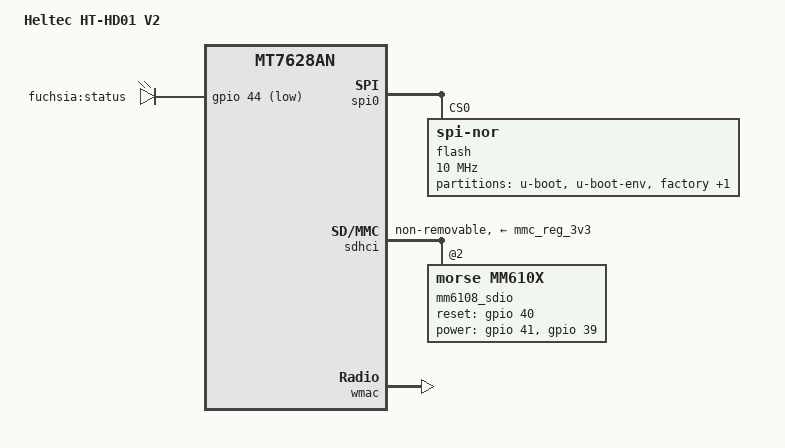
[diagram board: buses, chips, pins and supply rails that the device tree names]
// SPDX-License-Identifier: GPL-2.0-or-later OR MIT

#include "mt7628an.dtsi"

#include <dt-bindings/gpio/gpio.h>
#include <dt-bindings/leds/common.h>

/ {
	compatible = "heltec,ht-hd01-v2", "mediatek,mt7628an-soc";
	model = "Heltec HT-HD01 V2";

	aliases {
		serial0 = &uartlite;
		led-boot = &led_status;
		led-failsafe = &led_status;
		led-running = &led_status;
		led-upgrade = &led_status;
		label-mac-device = &wmac;
	};

	chosen {
		bootargs = "console=ttyS0,115200";
	};

	leds {
		compatible = "gpio-leds";

		led_status: status {
			label = "fuchsia:status";
			gpios = <&gpio 44 GPIO_ACTIVE_LOW>;
		};
	};

	/* MM6108 SDIO requires a 48 MHz fixed clock —
	   the stock Heltec firmware uses this instead of the
	   system clock gates from the SoC. */
	mmc_clock: mmc_clock {
		#clock-cells = <0>;
		compatible = "fixed-clock";
		clock-frequency = <48000000>;
	};

	reserved-memory {
		#address-cells = <1>;
		#size-cells = <1>;
		ranges;

		ramoops@7efffff {
			compatible = "ramoops";
			reg = <0x7efffff 0x100000>;
			record-size = <0x4000>;
			console-size = <0x4000>;
		};
	};
};

&state_default {
	gpio {
		groups = "wled_an", "refclk", "wdt", "i2s", "uart1", "uart2";
		function = "gpio";
	};
};

&spi0 {
	status = "okay";

	flash@0 {
		compatible = "jedec,spi-nor";
		reg = <0>;
		spi-max-frequency = <10000000>;

		partitions {
			compatible = "fixed-partitions";
			#address-cells = <1>;
			#size-cells = <1>;

			partition@0 {
				label = "u-boot";
				reg = <0x0 0x30000>;
				read-only;
			};

			partition@30000 {
				label = "u-boot-env";
				reg = <0x30000 0x10000>;
			};

			partition@40000 {
				label = "factory";
				reg = <0x40000 0x10000>;
				read-only;

				nvmem-layout {
					compatible = "fixed-layout";
					#address-cells = <1>;
					#size-cells = <1>;

					eeprom_factory_0: eeprom@0 {
						reg = <0x0 0x400>;
					};

					macaddr_factory_28: macaddr@28 {
						reg = <0x28 0x6>;
					};
				};
			};

			partition@50000 {
				compatible = "denx,uimage";
				label = "firmware";
				reg = <0x50000 0x1fb0000>;
			};
		};
	};
};

&sdhci {
	status = "okay";

	/* Stock V2 firmware has no reset controller for the MMC host */
	/delete-property/ resets;
	/delete-property/ reset-names;

	/* Override base dtsi clocks/regulators to match stock V2 firmware */
	clocks = <&mmc_clock>, <&mmc_clock>;
	clock-names = "source", "hclk";
	max-frequency = <48000000>;

	/* Use base dtsi's mmc_reg_3v3 for both (stock uses 3.3V for both) */
	vmmc-supply = <&mmc_reg_3v3>;
	vqmmc-supply = <&mmc_reg_3v3>;

	cap-sd-highspeed;
	cap-mmc-highspeed;
	cap-sdio-irq;
	non-removable;
	disable-wp;

	mm6108_sdio: mm6108_sdio@0 {
		compatible = "morse,mm610x";
		reset-gpios = <&gpio 40 GPIO_ACTIVE_HIGH>;
		power-gpios = <&gpio 41 GPIO_ACTIVE_HIGH>,
		              <&gpio 39 GPIO_ACTIVE_HIGH>;
		status = "okay";
		reg = <2>;
		bus-width = <4>;
	};
};

&ethernet {
	nvmem-cells = <&macaddr_factory_28>;
	nvmem-cell-names = "mac-address";
};

&esw {
	mediatek,portmap = <0x7>;
	mediatek,portdisable = <0x3a>;
};

&wmac {
	status = "okay";

	nvmem-cells = <&eeprom_factory_0>;
	nvmem-cell-names = "eeprom";
};

&gpio {
	gpio-line-names =
		/* GPIO0 -> GPIO12 */
		"I2S_SDI", "I2S_SDO", "I2S_WS", "I2S_CLK",
		"I2C_SCLK", "I2C_SD", "SPI_CS1", "SPI_CLK",
		"SPI_MOSI", "SPI_MISO", "SPI_CS0", "",
		"UART_TXD0",
		/* GPIO13 -> GPIO31 */
		"UART_RXD0", "MDI_TP_P1", "MDI_TN_P1",
		"MDI_RP_P1", "MDI_RN_P1", "MDI_RP_P2", "MDI_RN_P2",
		"MDI_TP_P2", "MDI_TN_P2", "MDI_TP_P3", "MDI_TN_P3",
		"MDI_RP_P3", "MDI_RN_P3", "MDI_RP_P4", "MDI_RN_P4",
		"MDI_TP_P4", "MDI_TN_P4", "", "",
		/* GPIO32 -> GPIO46 */
		"", "", "", "",
		"PERST_N", "REF_CLKO", "WDT_RST_N",
		"MM_BUSY", "MM_RESET", "MM_WAKE",
		"EPHY_LED1_N", "EPHY_LED0_N", "STATUS_LED",
		"UART_TXD1", "UART_RXD1";

};
